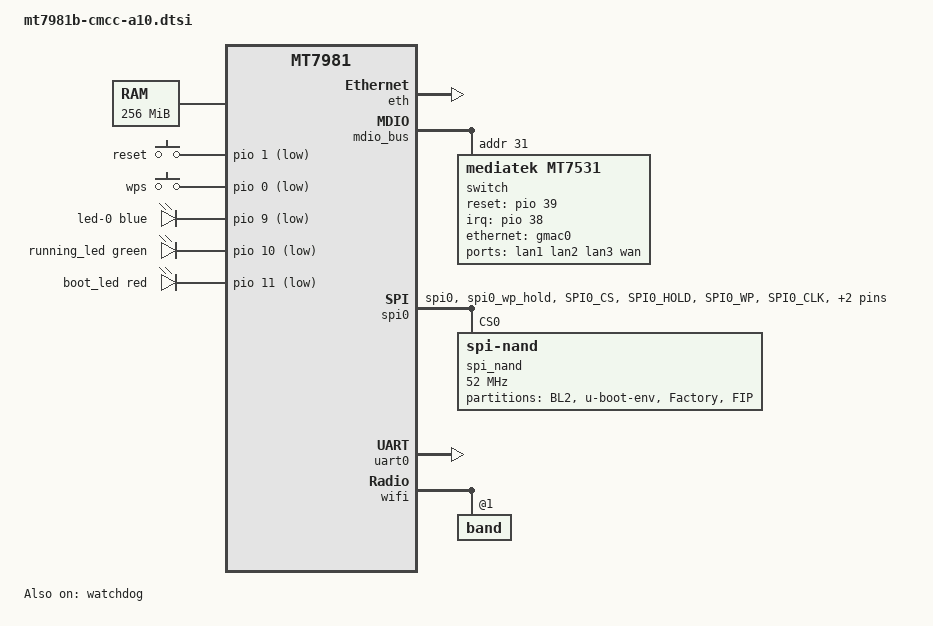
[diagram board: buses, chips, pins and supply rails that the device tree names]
// SPDX-License-Identifier: GPL-2.0-or-later OR MIT
/*
 * Copyright (C) 2023 Tianling Shen <cnsztl@immortalwrt.org>
 */

/dts-v1/;
#include <dt-bindings/gpio/gpio.h>
#include <dt-bindings/input/input.h>
#include <dt-bindings/leds/common.h>
#include "mt7981.dtsi"

/ {
	aliases {
		led-boot = &boot_led;
		led-failsafe = &boot_led;
		led-running = &running_led;
		led-upgrade = &running_led;
		serial0 = &uart0;
	};

	chosen: chosen {
		stdout-path = "serial0:115200n8";
	};

	memory@40000000 {
		reg = <0 0x40000000 0 0x10000000>;
	};

	gpio-keys {
		compatible = "gpio-keys";

		button-reset {
			label = "reset";
			linux,code = <KEY_RESTART>;
			gpios = <&pio 1 GPIO_ACTIVE_LOW>;
		};

		button-wps {
			label = "wps";
			linux,code = <KEY_WPS_BUTTON>;
			gpios = <&pio 0 GPIO_ACTIVE_LOW>;
		};
	};

	gpio-leds {
		compatible = "gpio-leds";

		led-0 {
			function = LED_FUNCTION_STATUS;
			color = <LED_COLOR_ID_BLUE>;
			gpios = <&pio 9 GPIO_ACTIVE_LOW>;
		};

		running_led: led-1 {
			function = LED_FUNCTION_STATUS;
			color = <LED_COLOR_ID_GREEN>;
			gpios = <&pio 10 GPIO_ACTIVE_LOW>;
		};

		boot_led: led-2 {
			function = LED_FUNCTION_STATUS;
			color = <LED_COLOR_ID_RED>;
			gpios = <&pio 11 GPIO_ACTIVE_LOW>;
		};
	};
};

&eth {
	status = "okay";

	gmac0: mac@0 {
		compatible = "mediatek,eth-mac";
		reg = <0>;
		phy-mode = "2500base-x";

		nvmem-cells = <&macaddr_factory_2a 0>;
		nvmem-cell-names = "mac-address";

		fixed-link {
			speed = <2500>;
			full-duplex;
			pause;
		};
	};
};

&mdio_bus {
	switch: switch@1f {
		compatible = "mediatek,mt7531";
		reg = <31>;
		reset-gpios = <&pio 39 GPIO_ACTIVE_HIGH>;
		interrupt-controller;
		#interrupt-cells = <1>;
		interrupt-parent = <&pio>;
		interrupts = <38 IRQ_TYPE_LEVEL_HIGH>;
	};
};

&pio {
	spi0_flash_pins: spi0-pins {
		mux {
			function = "spi";
			groups = "spi0", "spi0_wp_hold";
		};

		conf-pu {
			pins = "SPI0_CS", "SPI0_HOLD", "SPI0_WP";
			drive-strength = <8>;
			mediatek,pull-up-adv = <0>; /* bias-disable */
		};

		conf-pd {
			pins = "SPI0_CLK", "SPI0_MOSI", "SPI0_MISO";
			drive-strength = <8>;
			mediatek,pull-up-adv = <0>; /* bias-disable */
		};
	};
};

&spi0 {
	pinctrl-names = "default";
	pinctrl-0 = <&spi0_flash_pins>;
	status = "okay";

	spi_nand: flash@0 {
		#address-cells = <1>;
		#size-cells = <1>;
		compatible = "spi-nand";
		reg = <0>;

		spi-max-frequency = <52000000>;
		spi-tx-bus-width = <4>;
		spi-rx-bus-width = <4>;

		partitions: partitions {
			compatible = "fixed-partitions";
			#address-cells = <1>;
			#size-cells = <1>;

			partition@0 {
				label = "BL2";
				reg = <0x0 0x100000>;
				read-only;
			};

			partition@100000 {
				label = "u-boot-env";
				reg = <0x100000 0x80000>;
			};

			partition@180000 {
				label = "Factory";
				reg = <0x180000 0x200000>;
				read-only;

				nvmem-layout {
					compatible = "fixed-layout";
					#address-cells = <1>;
					#size-cells = <1>;

					eeprom_factory_0: eeprom@0 {
						reg = <0x0 0x1000>;
					};

					macaddr_factory_a: macaddr@a {
						compatible = "mac-base";
						reg = <0xa 0x6>;
						#nvmem-cell-cells = <1>;
					};

					macaddr_factory_24: macaddr@24 {
						compatible = "mac-base";
						reg = <0x24 0x6>;
						#nvmem-cell-cells = <1>;
					};

					macaddr_factory_2a: macaddr@2a {
						compatible = "mac-base";
						reg = <0x2a 0x6>;
						#nvmem-cell-cells = <1>;
					};
				};
			};

			partition@380000 {
				label = "FIP";
				reg = <0x380000 0x200000>;
				read-only;
			};
		};
	};
};

&switch {
	ports {
		#address-cells = <1>;
		#size-cells = <0>;

		port@0 {
			reg = <0>;
			label = "lan1";
		};

		port@2 {
			reg = <2>;
			label = "lan2";
		};

		port@3 {
			reg = <3>;
			label = "lan3";
		};

		port@4 {
			reg = <4>;
			label = "wan";

			nvmem-cells = <&macaddr_factory_24 0>;
			nvmem-cell-names = "mac-address";
		};

		port@6 {
			reg = <6>;
			ethernet = <&gmac0>;
			phy-mode = "2500base-x";

			fixed-link {
				speed = <2500>;
				full-duplex;
				pause;
			};
		};
	};
};

&uart0 {
	status = "okay";
};

&watchdog {
	status = "okay";
};

&wifi {
	nvmem-cells = <&eeprom_factory_0>;
	nvmem-cell-names = "eeprom";
	status = "okay";

	band@1 {
		reg = <1>;
		nvmem-cells = <&macaddr_factory_a 0>;
		nvmem-cell-names = "mac-address";
	};
};
